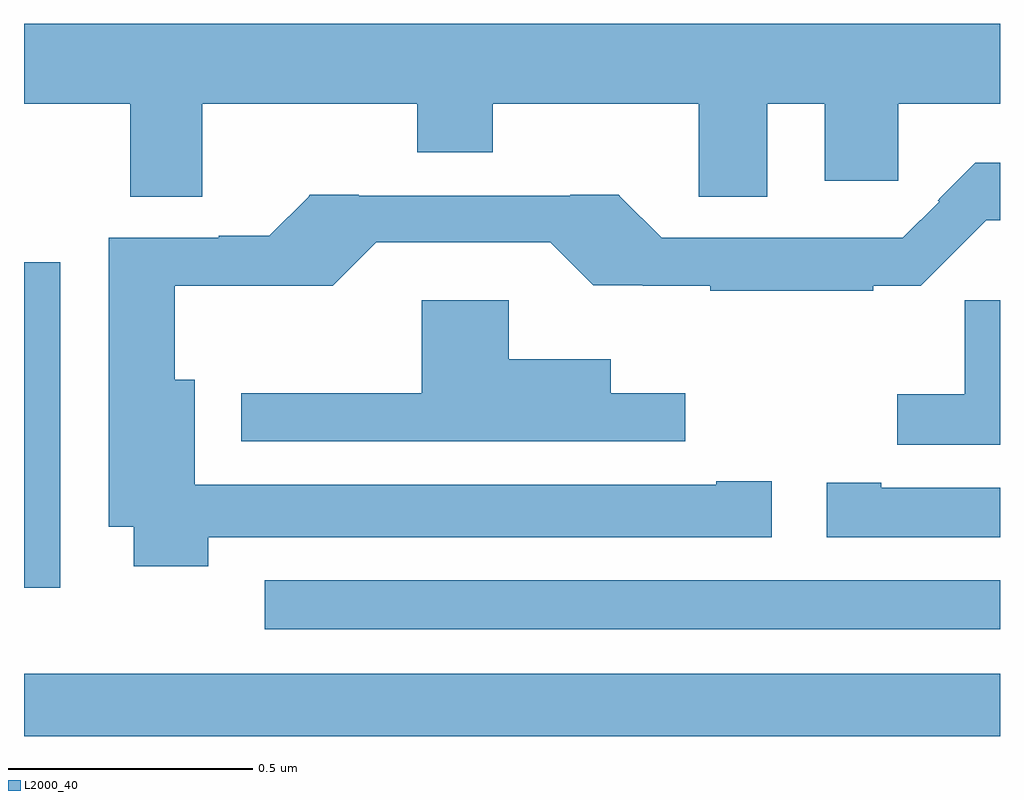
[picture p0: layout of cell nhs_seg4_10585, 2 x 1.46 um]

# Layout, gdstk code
import gdstk
lib = gdstk.Library(unit=1e-6, precision=1e-09)
def R(c, l, rs):  # rectangles x0, y0, x1, y1
    for r in rs: c.add(gdstk.rectangle(r[:2], r[2:], *l))
def P(c, l, *ps):  # polygons
    for p in ps: c.add(gdstk.Polygon(p, *l))
L2000_40 = (2000, 40)

nhs_seg4_10585 = lib.new_cell('nhs_seg4_10585')
R(nhs_seg4_10585, L2000_40, [(242,752.9,244,753.028), (242.493,753.119,244,753.22), (242,753.204,242.074,753.871)])
P(nhs_seg4_10585, L2000_40, [(242.365,754.196),(242.806,754.196),(242.806,754.097),(242.961,754.097),(242.961,754.196),(243.383,754.196),(243.383,754.006),(243.523,754.006),(243.523,754.196),(243.641,754.196),(243.641,754.038),(243.792,754.038),(243.792,754.196),(244,754.196),(244,754.36),(242,754.36),(242,754.196),(242.218,754.196),(242.218,754.006),(242.365,754.006)],
  [(242.378,753.308),(243.532,753.308),(243.532,753.423),(243.419,753.423),(243.419,753.415),(242.35,753.415),(242.35,753.631),(242.309,753.631),(242.309,753.823),(242.633,753.823),(242.722,753.912),(243.078,753.912),(243.166,753.824),(243.268,753.824),(243.268,753.823),(243.406,753.823),(243.406,753.813),(243.74,753.813),(243.74,753.823),(243.838,753.823),(243.972,753.957),(244,753.957),(244,754.075),(243.949,754.075),(243.879,754.005),(243.872,753.997),(243.875,753.995),(243.801,753.921),(243.307,753.921),(243.223,754.005),(243.219,754.01),(243.119,754.01),(243.119,754.008),(242.686,754.008),(242.686,754.01),(242.586,754.01),(242.582,754.005),(242.503,753.926),(242.399,753.926),(242.399,753.921),(242.174,753.921),(242.174,753.329),(242.225,753.329),(242.225,753.248),(242.378,753.248)],
  [(244,753.793),(243.928,753.793),(243.928,753.601),(243.789,753.601),(243.789,753.497),(244,753.497)],
  [(243.355,753.603),(243.202,753.603),(243.202,753.673),(242.993,753.673),(242.993,753.793),(242.815,753.793),(242.815,753.603),(242.445,753.603),(242.445,753.504),(243.355,753.504)],
  [(244,753.409),(243.757,753.409),(243.757,753.419),(243.645,753.419),(243.645,753.308),(244,753.308)])

lib.write_gds('nhs_seg4_10585.gds')
